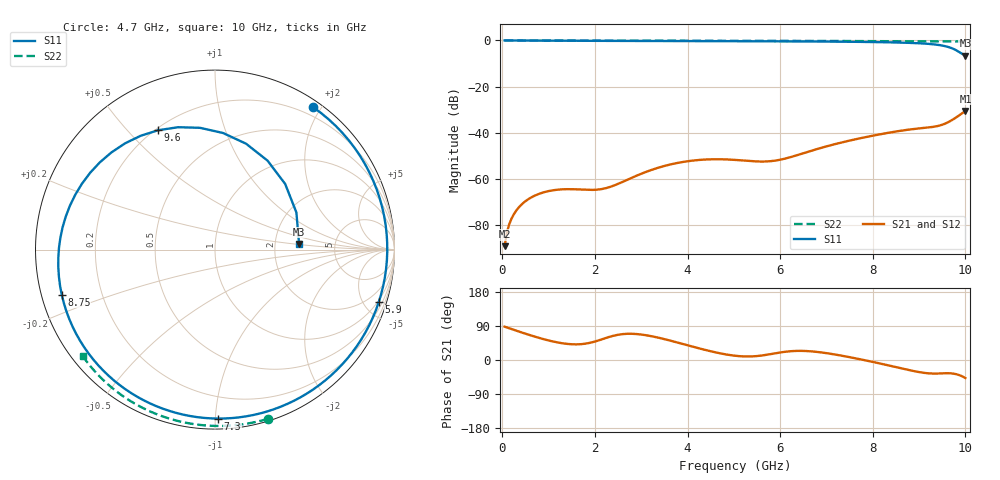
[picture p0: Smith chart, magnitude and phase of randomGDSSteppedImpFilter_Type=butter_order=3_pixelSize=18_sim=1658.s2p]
! freq	dB(S11)	phase(S11)	dB(S12)	phase(S12)
!  dB(S21)	phase(S21)	dB(S22)	phase(S22)
!S-par simulation data
#  GHz  S  DB  R 50
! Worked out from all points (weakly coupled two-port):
!   200 points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, 50 MHz to 10 GHz, reference 50 ohm
!   highest |S21| = -30.56 dB at 10 GHz (marker M1); lowest = -89.1 dB at 50 MHz (marker M2)
!   lowest |S11| = -6.6 dB at 10 GHz (marker M3), VSWR 2.77, Z = 138 + j11 ohm
!   |S11| at or under -10 dB: nowhere
!   |S22| runs from -0.5 to 0.0 dB; largest |S21 - S12| = 0
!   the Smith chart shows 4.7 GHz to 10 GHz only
!   S11 on the Smith chart (normalised r, x): 4.7 GHz: 0.09, +1.90; 5.9 GHz: 0.87, -6.24; 7.3 GHz: 0.06, -1.01; 8.75 GHz: 0.06, -0.14; 9.6 GHz: 0.21, +0.61; 10 GHz: 2.75, +0.22
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0.05  -0.00 -3.5  -89.11 87.9  -89.11 87.9  -0.00 -0.8
0.15  -0.01 -10.3  -79.61 83.7  -79.61 83.7  -0.00 -2.5
0.5  -0.05 -34.1  -69.63 69.4  -69.63 69.4  -0.01 -8.2
0.95  -0.09 -64.2  -65.48 53.1  -65.48 53.1  -0.02 -15.5
1.35  -0.12 -90.3  -64.44 43.2  -64.44 43.2  -0.03 -21.9
1.75  -0.15 -115.7  -64.64 42.4  -64.64 42.4  -0.04 -28.3
2.6  -0.21 -168.7  -61.25 68.3  -61.25 68.3  -0.05 -41.6
3  -0.23 166.2  -57.74 67.2  -57.74 67.2  -0.06 -47.7
3.4  -0.26 140.6  -54.93 58.1  -54.93 58.1  -0.07 -53.7
4.05  -0.29 98.1  -52.18 37.2  -52.18 37.2  -0.09 -63.3
4.7  -0.32 55.3  -51.46 17.7  -51.46 17.7  -0.11 -72.7
5.05  -0.33 32.9  -51.78 10.9  -51.78 10.9  -0.12 -77.6
5.45  -0.35 8.2  -52.36 9.9  -52.36 9.9  -0.13 -83.1
5.9  -0.37 -17.9  -52.02 17.8  -52.02 17.8  -0.15 -89.2
6.7  -0.44 -60.0  -47.63 22.5  -47.63 22.5  -0.19 -99.8
7.3  -0.52 -89.1  -44.32 12.0  -44.32 12.0  -0.23 -107.6
8.35  -0.80 -140.6  -39.95 -14.5  -39.95 -14.5  -0.31 -120.8
8.75  -1.01 -163.7  -38.69 -25.7  -38.69 -25.7  -0.35 -125.8
9.25  -1.55 158.5  -37.58 -35.6  -37.58 -35.6  -0.40 -132.0
9.6  -2.66 115.4  -35.68 -34.8  -35.68 -34.8  -0.43 -136.3
9.8  -4.22 73.7  -33.35 -37.4  -33.35 -37.4  -0.46 -138.8
10  -6.56 3.8  -30.56 -47.7  -30.56 -47.7  -0.48 -141.3
